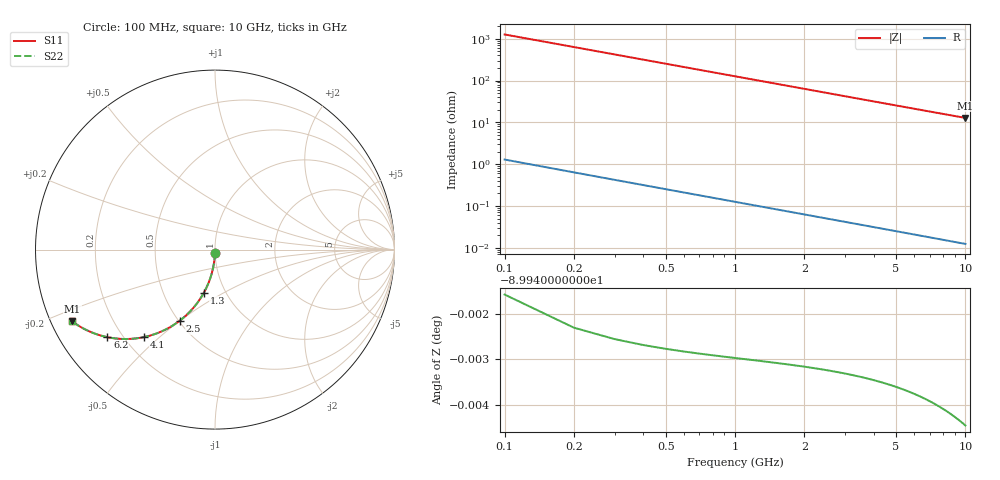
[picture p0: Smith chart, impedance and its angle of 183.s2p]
# Hz S RI R 50.00
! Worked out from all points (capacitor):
!   100 points, 100 MHz to 10 GHz, reference 50 ohm
!   read as one part in shunt: C = 1.26 pF near 100 MHz
!   lowest |Z| = 12.8 ohm at 10 GHz (marker M1)
!   S11 on the Smith chart (normalised r, x): 100 MHz: 1.00, -0.04; 1.3 GHz: 0.79, -0.41; 2.5 GHz: 0.51, -0.50; 4.1 GHz: 0.28, -0.45; 6.2 GHz: 0.14, -0.35; 10 GHz: 0.06, -0.24
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1e8  -0.000397 -0.0198  0.9996 -0.0198  0.9996 -0.0198  -0.000397 -0.0198
2e8  -0.00159 -0.0395  0.9984 -0.0396  0.9984 -0.0396  -0.00159 -0.0395
3e8  -0.00356 -0.0591  0.9964 -0.0593  0.9964 -0.0593  -0.00356 -0.0591
4e8  -0.00629 -0.0786  0.9937 -0.0788  0.9937 -0.0788  -0.00629 -0.0786
5e8  -0.00978 -0.0979  0.9902 -0.0981  0.9902 -0.0981  -0.00978 -0.0979
6e8  -0.014 -0.1169  0.986 -0.1173  0.986 -0.1173  -0.014 -0.1169
8e8  -0.0246 -0.1542  0.9754 -0.1546  0.9754 -0.1546  -0.0246 -0.1542
1e9  -0.0379 -0.1901  0.9621 -0.1907  0.9621 -0.1907  -0.0379 -0.1901
1.3e9  -0.0623 -0.2408  0.9377 -0.2415  0.9377 -0.2415  -0.0623 -0.2408
1.5e9  -0.0812 -0.2722  0.9188 -0.2731  0.9188 -0.2731  -0.0812 -0.2722
1.8e9  -0.1128 -0.3154  0.8872 -0.3164  0.8872 -0.3164  -0.1128 -0.3154
2.1e9  -0.1474 -0.3535  0.8525 -0.3546  0.8525 -0.3546  -0.1474 -0.3535
2.5e9  -0.1967 -0.3963  0.8033 -0.3977  0.8033 -0.3977  -0.1967 -0.3963
2.9e9  -0.2477 -0.4304  0.7523 -0.432  0.7523 -0.432  -0.2477 -0.4304
3.4e9  -0.3114 -0.4616  0.6886 -0.4635  0.6886 -0.4635  -0.3114 -0.4616
4.1e9  -0.3964 -0.4875  0.6036 -0.4898  0.6036 -0.4898  -0.3964 -0.4875
5.1e9  -0.5036 -0.4981  0.4963 -0.5009  0.4963 -0.5009  -0.5036 -0.4981
6.2e9  -0.5995 -0.4878  0.4004 -0.4912  0.4004 -0.4912  -0.5995 -0.4878
6.7e9  -0.636 -0.4788  0.364 -0.4825  0.364 -0.4825  -0.636 -0.4788
7.5e9  -0.6862 -0.4614  0.3137 -0.4656  0.3137 -0.4656  -0.6862 -0.4614
8.4e9  -0.7326 -0.4397  0.2673 -0.4444  0.2673 -0.4444  -0.7326 -0.4397
1e10  -0.795 -0.4004  0.205 -0.406  0.205 -0.406  -0.795 -0.4004
